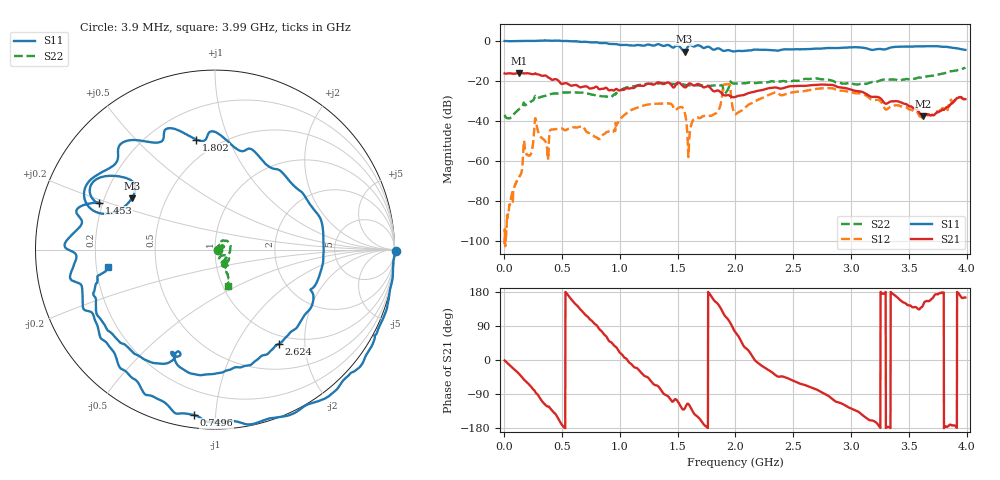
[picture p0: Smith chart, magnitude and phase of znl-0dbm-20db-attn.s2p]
#  HZ  S  RI  R  50.00
! Rohde & Schwarz Vector Network Analyzer
! Rohde-Schwarz,ZNL20-2Port,1323001220101312,1.72.1.6-23.02.1.246
! Created: UTC 10/23/2024, 6:20:54 PM
! freq[Hz]  re:S11  im:S11  re:S21  im:S21  re:S12  im:S12  re:S22  im:S22
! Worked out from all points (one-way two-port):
!   2000 points, 3.9 MHz to 3.99 GHz, reference 50 ohm
!   highest |S21| = -15.95 dB at 129.5 MHz (marker M1); lowest = -37.6 dB at 3.627 GHz (marker M2)
!   lowest |S11| = -5.3 dB at 1.561 GHz (marker M3), VSWR 3.39, Z = 15.8 + j12.8 ohm
!   |S11| at or under -10 dB: nowhere
!   |S22| runs from -38.7 to -13.3 dB; largest |S21 - S12| = 0.16
!   S11 on the Smith chart (normalised r, x): 3.9 MHz: open; 749.6 MHz: 0.07, -0.88; 1.453 GHz: 0.18, +0.19; 1.802 GHz: 0.39, +0.77; 2.624 GHz: 0.87, -1.52; 3.99 GHz: 0.25, -0.08
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3900000  1.01 -0.00696  0.1555 -0.00333  5.79e-06 5.84e-06  0.0142 0.000266
1.295155e8  0.9742 -0.2296  0.128 -0.0949  -0.000148 0.000368  0.0146 0.0136
2.312043e8  0.9176 -0.4224  0.0528 -0.1418  -0.000119 0.00147  0.022 0.0212
2.770639e8  0.8904 -0.4906  0.00595 -0.1506  -0.00718 -0.00629  0.0331 0.0206
3.667892e8  0.7937 -0.6646  -0.0679 -0.1139  -0.00206 0.00149  0.0362 0.0235
4.146428e8  0.7086 -0.7362  -0.0737 -0.0777  -0.00605 0.000942  0.0422 0.0231
6.698616e8  0.0629 -0.9534  -0.0457 0.0537  -0.00259 0.00696  0.0493 0.0139
7.496175e8  -0.1189 -0.921  -0.0175 0.0628  5.72e-05 0.00468  0.0451 0.0117
1.333829e9  -0.8379 0.0283  0.0322 -0.0876  -0.0235 -0.0137  0.0823 0.0286
1.453463e9  -0.6474 0.2615  -0.0252 -0.0698  -0.0251 0.00174  0.085 0.00359
1.561134e9  -0.464 0.2852  -0.0434 -0.0549  -0.011 0.0126  0.079 -0.0194
1.599018e9  -0.7282 0.2888  -0.0408 -0.0765  -0.00206 -0.00192  0.075 -0.0226
1.646871e9  -0.5441 0.4958  -0.0619 -0.0466  -0.0101 -0.00513  0.0727 -0.0321
1.802395e9  -0.1034 0.6129  -0.0557 0.0173  -0.0104 0.0095  0.057 -0.0519
1.920035e9  0.1726 0.5558  -0.017 0.0406  0.0819 0.0124  0.0415 -0.0323
1.997797e9  0.3242 0.4509  0.0108 0.0384  0.00853 -0.012  0.0551 -0.0669
2.203168e9  0.6041 0.0458  0.057 -0.00956  0.0312 -0.0156  0.0478 -0.0774
2.623881e9  0.3567 -0.5244  0.0283 -0.0718  0.0283 -0.051  0.0692 -0.0892
2.661765e9  0.327 -0.5484  0.0234 -0.076  0.0264 -0.0556  0.0636 -0.0944
3.325732e9  -0.242 -0.6209  -0.029 -0.00166  -0.0207 -0.00394  0.0634 -0.0879
3.626811e9  -0.5804 -0.4617  -0.011 0.00717  -0.0118 0.0036  0.0607 -0.1094
3.9897e9  -0.5959 -0.0977  -0.034 0.00923  -0.0348 0.0087  0.0748 -0.2038
